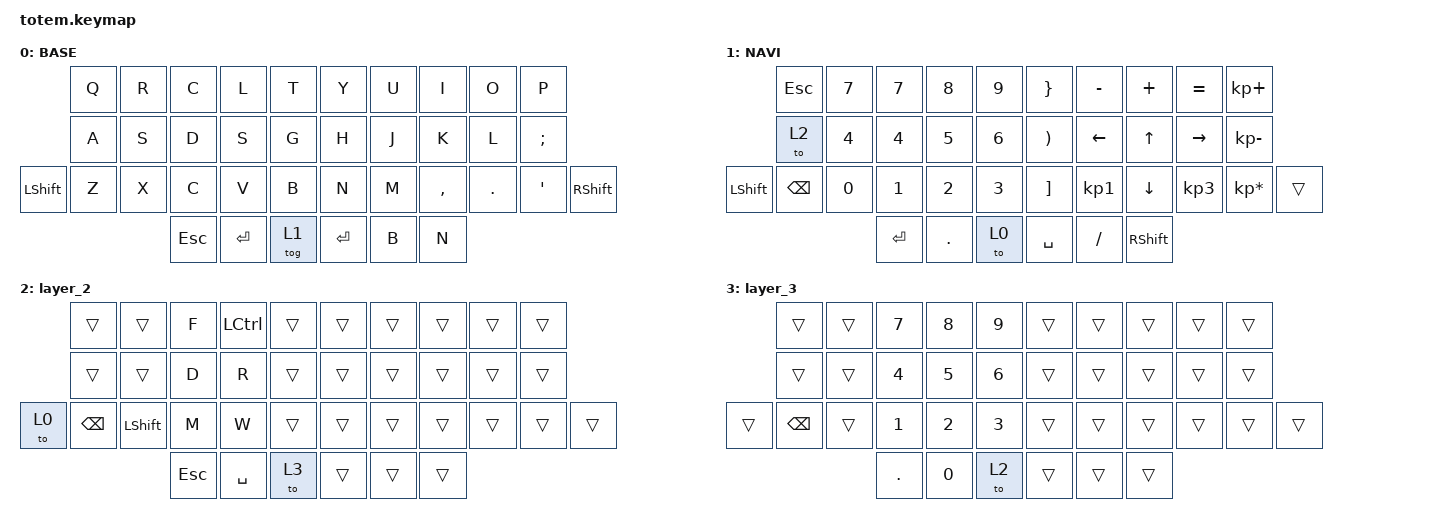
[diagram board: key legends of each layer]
//
//                                                        ▀▀▀▀▀     ▀▀▀▀▀          ▀▀█▀▀
//                                                        ▄▀▀▀▄  ▄  ▄▀▀▀▄  ▄  ▄▀▀▀▄  █  ▄▀▀▀▄
//                                                        █   █  █  █   █  █  █   █  █  █   █
//                                                         ▀▀▀   █   ▀▀▀   █   ▀▀▀   ▀   ▀▀▀
//                                                               █      ▄▄▄█▄▄▄    █   █  
//                                                               ▀      █  █  █     █▄█
//                                                             ▀▀▀▀▀    █  █  █      ▀
//                                                                      ▀  ▀  ▀
//
// ▄▄▄▄▄▄▄▄▄▄▄▄▄▄▄▄▄▄▄▄▄▄▄▄▄▄▄▄▄▄▄▄▄▄▄▄▄▄▄▄▄▄▄▄▄▄▄▄▄▄▄▄▄▄▄▄▄▄▄▄▄▄▄▄▄▄▄▄▄▄▄▄▄▄▄▄▄▄▄▄▄▄▄▄▄▄▄▄▄▄▄▄▄▄▄▄▄▄▄▄▄▄▄▄▄▄▄▄▄▄▄▄▄▄▄▄▄▄▄▄▄▄▄▄▄▄▄▄▄▄▄▄▄▄▄▄▄▄▄▄▄▄▄▄▄▄▄▄▄

#include <behaviors.dtsi>
#include <dt-bindings/zmk/keys.h>

#define BASE 0
#define NAV  1
#define SYM  2
#define ADJ  3
#define TVP1 4
#define TVP2 5

&mt {
    quick-tap-ms = <100>;
    global-quick-tap;
    flavor = "tap-preferred";
    tapping-term-ms = <170>;
};

/ {
    combos {
        compatible = "zmk,combos";

        combo_esc {
            timeout-ms = <50>;
            key-positions = <0 1>;
            bindings = <&kp ESC>;
        };

        combo_tvp {
            timeout-ms = <100>;
            key-positions = <11 12 13>;
            bindings = <&tog 0>;
        };
    };

    macros {
        gif: gif {
            label = "giphy";
            compatible = "zmk,behavior-macro";
            #binding-cells = <0>;
            bindings =
                <&macro_press>,
                <&kp LSHFT>,
                <&macro_tap>,
                <&kp N2>,
                <&macro_release>,
                <&kp LSHFT>,
                <&macro_tap>,
                <&kp G &kp I &kp F>;
        };
    };

    keymap {
        compatible = "zmk,keymap";

        // ▄▄▄▄▄▄▄▄▄▄▄▄▄▄▄▄▄▄▄▄▄▄▄▄▄▄▄▄▄▄▄▄▄▄▄▄▄▄▄▄▄▄▄▄▄▄▄▄▄▄▄▄▄▄▄▄▄▄▄▄▄▄▄▄▄▄▄▄▄▄▄▄▄▄▄▄▄▄▄▄▄▄▄▄▄▄▄▄▄▄▄▄▄▄▄▄▄▄▄▄▄▄▄▄▄▄▄▄▄▄▄▄▄▄▄▄▄▄▄▄▄▄▄▄▄▄▄▄▄▄▄▄▄▄▄▄▄▄▄▄▄▄▄▄▄▄▄▄▄

        base_layer {
            // ┏━━━━━━━━━━━━━━━━━━━━━━━━━━━━━━━━━━━━━━━┓

            label = "BASE";

            // ┗━━━━━━━━━━━━━━━━━━━━━━━━━━━━━━━━━━━━━━━┛
            //             ┏━━━━━━━━━━━┳━━━━━━━━━━━┳━━━━━━━━━━━┳━━━━━━━━━━━┳━━━━━━━━━━━┓   ┏━━━━━━━━━━━┳━━━━━━━━━━━┳━━━━━━━━━━━┳━━━━━━━━━━━┳━━━━━━━━━━━┓
            //             ┃     Q     ┃     W     ┃     F     ┃     P     ┃     G     ┃   ┃     J     ┃     L     ┃     U     ┃     Y     ┃     ;     ┃
            //             ┣━━━━━━━━━━━╋━━━━━━━━━━━╋━━━━━━━━━━━╋━━━━━━━━━━━╋━━━━━━━━━━━┫   ┣━━━━━━━━━━━╋━━━━━━━━━━━╋━━━━━━━━━━━╋━━━━━━━━━━━╋━━━━━━━━━━━┫
            //             ┃     A     ┃     R     ┃     S     ┃     T     ┃     D     ┃   ┃     H     ┃     N     ┃     E     ┃     I     ┃     O     ┃
            // ┏━━━━━━━━━━━╋━━━━━━━━━━━╋━━━━━━━━━━━╋━━━━━━━━━━━╋━━━━━━━━━━━╋━━━━━━━━━━━┫   ┣━━━━━━━━━━━╋━━━━━━━━━━━╋━━━━━━━━━━━╋━━━━━━━━━━━╋━━━━━━━━━━━╋━━━━━━━━━━━┓
            // ┃     Q     ┃     Z     ┃     X     ┃     C     ┃     V     ┃     B     ┃   ┃     K     ┃     M     ┃     ,     ┃     .     ┃     /     ┃     \     ┃
            // ┗━━━━━━━━━━━┻━━━━━━━━━━━┻━━━━━━━━━━━╋━━━━━━━━━━━╋━━━━━━━━━━━╋━━━━━━━━━━━┫   ┣━━━━━━━━━━━╋━━━━━━━━━━━╋━━━━━━━━━━━╋━━━━━━━━━━━┻━━━━━━━━━━━┻━━━━━━━━━━━┛
            //                                     ┃    DEL    ┃    TAB    ┃    SPC    ┃   ┃   ENTER   ┃           ┃   BSPC    ┃
            //                                     ┗━━━━━━━━━━━┻━━━━━━━━━━━┻━━━━━━━━━━━┛   ┗━━━━━━━━━━━┻━━━━━━━━━━━┻━━━━━━━━━━━┛

            bindings = <
                &kp Q  &kp R  &kp C       &kp L      &kp T     &kp Y    &kp U  &kp I      &kp O    &kp P
                &kp A  &kp S  &kp D       &kp S      &kp G     &kp H    &kp J  &kp K      &kp L    &kp SEMICOLON
&kp LEFT_SHIFT  &kp Z  &kp X  &kp C       &kp V      &kp B     &kp N    &kp M  &kp COMMA  &kp DOT  &kp SINGLE_QUOTE  &kp RIGHT_SHIFT
                              &kp ESCAPE  &kp ENTER  &tog 1    &kp RET  &kp B  &kp N
            >;
        };

        // ▄▄▄▄▄▄▄▄▄▄▄▄▄▄▄▄▄▄▄▄▄▄▄▄▄▄▄▄▄▄▄▄▄▄▄▄▄▄▄▄▄▄▄▄▄▄▄▄▄▄▄▄▄▄▄▄▄▄▄▄▄▄▄▄▄▄▄▄▄▄▄▄▄▄▄▄▄▄▄▄▄▄▄▄▄▄▄▄▄▄▄▄▄▄▄▄▄▄▄▄▄▄▄▄▄▄▄▄▄▄▄▄▄▄▄▄▄▄▄▄▄▄▄▄▄▄▄▄▄▄▄▄▄▄▄▄▄▄▄▄▄▄▄▄▄▄▄▄▄

        nav_layer {
            // ┏━━━━━━━━━━━━━━━━━━━━━━━━━━━━━━━━━━━━━━━┓

            label = "NAVI";

            // ┗━━━━━━━━━━━━━━━━━━━━━━━━━━━━━━━━━━━━━━━┛
            //             ┏━━━━━━━━━━━┳━━━━━━━━━━━┳━━━━━━━━━━━┳━━━━━━━━━━━┳━━━━━━━━━━━┓   ┏━━━━━━━━━━━┳━━━━━━━━━━━┳━━━━━━━━━━━┳━━━━━━━━━━━┳━━━━━━━━━━━┓
            //             ┃           ┃           ┃     UP    ┃           ┃     {     ┃   ┃     }     ┃     7     ┃     8     ┃     9     ┃     +     ┃
            //             ┣━━━━━━━━━━━╋━━━━━━━━━━━╋━━━━━━━━━━━╋━━━━━━━━━━━╋━━━━━━━━━━━┫   ┣━━━━━━━━━━━╋━━━━━━━━━━━╋━━━━━━━━━━━╋━━━━━━━━━━━╋━━━━━━━━━━━┫
            //             ┃   SHIFT   ┃   LEFT    ┃    DOWN   ┃   RIGHT   ┃     [     ┃   ┃     ]     ┃     4     ┃     5     ┃     6     ┃     -     ┃
            // ┏━━━━━━━━━━━╋━━━━━━━━━━━╋━━━━━━━━━━━╋━━━━━━━━━━━╋━━━━━━━━━━━╋━━━━━━━━━━━┫   ┣━━━━━━━━━━━╋━━━━━━━━━━━╋━━━━━━━━━━━╋━━━━━━━━━━━╋━━━━━━━━━━━╋━━━━━━━━━━━┓
            // ┃           ┃           ┃   P UP    ┃  C LOCK   ┃  P DOWN   ┃     (     ┃   ┃     )     ┃     1     ┃     2     ┃     3     ┃     *     ┃           ┃
            // ┗━━━━━━━━━━━┻━━━━━━━━━━━┻━━━━━━━━━━━╋━━━━━━━━━━━╋━━━━━━━━━━━╋━━━━━━━━━━━┫   ┣━━━━━━━━━━━╋━━━━━━━━━━━╋━━━━━━━━━━━╋━━━━━━━━━━━┻━━━━━━━━━━━┻━━━━━━━━━━━┛
            //                                     ┃           ┃    TAB    ┃    SPC    ┃   ┃    DEL    ┃     0     ┃           ┃
            //                                     ┗━━━━━━━━━━━┻━━━━━━━━━━━┻━━━━━━━━━━━┛   ┗━━━━━━━━━━━┻━━━━━━━━━━━┻━━━━━━━━━━━┛

            bindings = <
                &kp ESC        &kp N7        &kp N7        &kp N8        &kp N9          &kp RBRC               &kp MINUS       &kp PLUS         &kp EQUAL        &kp KP_PLUS
                &to 2          &kp NUMBER_4  &kp NUMBER_4  &kp N5        &kp NUMBER_6    &kp RIGHT_PARENTHESIS  &kp LEFT_ARROW  &kp UP_ARROW     &kp RIGHT_ARROW  &kp KP_MINUS
&kp LEFT_SHIFT  &kp BACKSPACE  &kp N0        &kp NUMBER_1  &kp NUMBER_2  &kp NUMBER_3    &kp RIGHT_BRACKET      &kp KP_N1       &kp DOWN_ARROW   &kp KP_N3        &kp KP_MULTIPLY  &trans
                                             &kp ENTER     &kp PERIOD    &to 0           &kp SPACE              &kp SLASH       &kp RIGHT_SHIFT
            >;
        };

        layer_2 {
            bindings = <
       &trans         &trans          &kp F       &kp LEFT_CONTROL  &trans    &trans  &trans  &trans  &trans  &trans
       &trans         &trans          &kp D       &kp R             &trans    &trans  &trans  &trans  &trans  &trans
&to 0  &kp BACKSPACE  &kp LEFT_SHIFT  &kp M       &kp W             &trans    &trans  &trans  &trans  &trans  &trans  &trans
                                      &kp ESCAPE  &kp SPACE         &to 3     &trans  &trans  &trans
            >;
        };

        layer_3 {
            bindings = <
        &trans         &trans  &kp N7        &kp N8        &kp N9          &trans  &trans  &trans  &trans  &trans
        &trans         &trans  &kp NUMBER_4  &kp N5        &kp NUMBER_6    &trans  &trans  &trans  &trans  &trans
&trans  &kp BACKSPACE  &trans  &kp NUMBER_1  &kp NUMBER_2  &kp NUMBER_3    &trans  &trans  &trans  &trans  &trans  &trans
                               &kp PERIOD    &kp N0        &to 2           &trans  &trans  &trans
            >;
        };

        // ▄▄▄▄▄▄▄▄▄▄▄▄▄▄▄▄▄▄▄▄▄▄▄▄▄▄▄▄▄▄▄▄▄▄▄▄▄▄▄▄▄▄▄▄▄▄▄▄▄▄▄▄▄▄▄▄▄▄▄▄▄▄▄▄▄▄▄▄▄▄▄▄▄▄▄▄▄▄▄▄▄▄▄▄▄▄▄▄▄▄▄▄▄▄▄▄▄▄▄▄▄▄▄▄▄▄▄▄▄▄▄▄▄▄▄▄▄▄▄▄▄▄▄▄▄▄▄▄▄▄▄▄▄▄▄▄▄▄▄▄▄▄▄▄▄▄▄▄▄
        // ▄▄▄▄▄▄▄▄▄▄▄▄▄▄▄▄▄▄▄▄▄▄▄▄▄▄▄▄▄▄▄▄▄▄▄▄▄▄▄▄▄▄▄▄▄▄▄▄▄▄▄▄▄▄▄▄▄▄▄▄▄▄▄▄▄▄▄▄▄▄▄▄▄▄▄▄▄▄▄▄▄▄▄▄▄▄▄▄▄▄▄▄▄▄▄▄▄▄▄▄▄▄▄▄▄▄▄▄▄▄▄▄▄▄▄▄▄▄▄▄▄▄▄▄▄▄▄▄▄▄▄▄▄▄▄▄▄▄▄▄▄▄▄▄▄▄▄▄▄
        // ▄▄▄▄▄▄▄▄▄▄▄▄▄▄▄▄▄▄▄▄▄▄▄▄▄▄▄▄▄▄▄▄▄▄▄▄▄▄▄▄▄▄▄▄▄▄▄▄▄▄▄▄▄▄▄▄▄▄▄▄▄▄▄▄▄▄▄▄▄▄▄▄▄▄▄▄▄▄▄▄▄▄▄▄▄▄▄▄▄▄▄▄▄▄▄▄▄▄▄▄▄▄▄▄▄▄▄▄▄▄▄▄▄▄▄▄▄▄▄▄▄▄▄▄▄▄▄▄▄▄▄▄▄▄▄▄▄▄▄▄▄▄▄▄▄▄▄▄▄
        // ▄▄▄▄▄▄▄▄▄▄▄▄▄▄▄▄▄▄▄▄▄▄▄▄▄▄▄▄▄▄▄▄▄▄▄▄▄▄▄▄▄▄▄▄▄▄▄▄▄▄▄▄▄▄▄▄▄▄▄▄▄▄▄▄▄▄▄▄▄▄▄▄▄▄▄▄▄▄▄▄▄▄▄▄▄▄▄▄▄▄▄▄▄▄▄▄▄▄▄▄▄▄▄▄▄▄▄▄▄▄▄▄▄▄▄▄▄▄▄▄▄▄▄▄▄▄▄▄▄▄▄▄▄▄▄▄▄▄▄▄▄▄▄▄▄▄▄▄▄
    };
};
